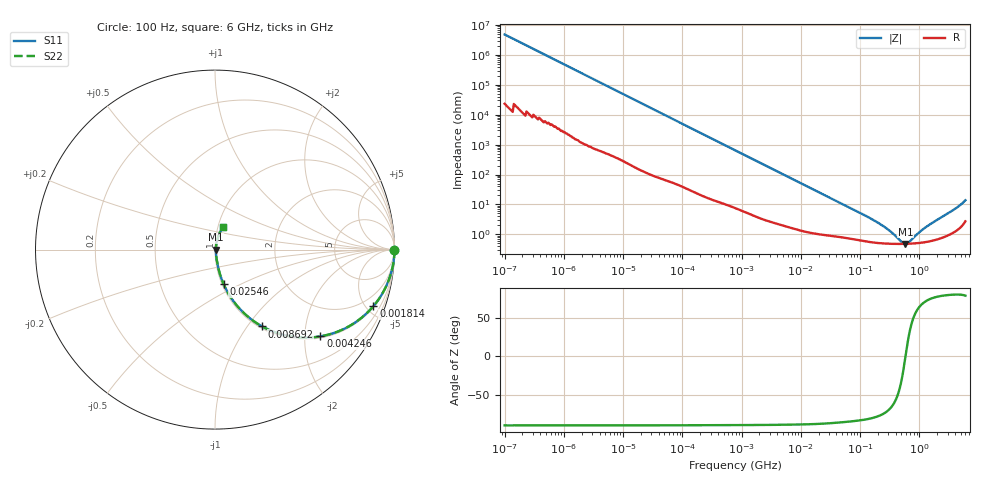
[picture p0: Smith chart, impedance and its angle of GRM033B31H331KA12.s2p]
!Murata Part Number: GRM033B31H331KA12
!These Parameters are Measured in Series Mode Connection
!Data Generated on Mar 30, 2021
!  o--ll--o
!Port1  Port2
!  o------o
!Operation Temp=25[degC], DC Bias Voltage=0[V]
!Freq. Start=100[Hz] Stop=6[GHz] 401[Steps]
# Hz S RI R 50
!Freq.(Hz) S11(Real) S11(Imag) S21(Real) S21(Imag) S12(Real) S12(Imag) S22(Real) S22(Imag)
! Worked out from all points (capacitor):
!   401 points, 100 Hz to 6 GHz, reference 50 ohm
!   read as one part in series: C = 328 pF near 109 Hz
!   lowest |Z| = 481 mohm at 584.8 MHz (marker M1)
!   series resonance near 585.2 MHz, so ESL is about 230 pH
!   S11 on the Smith chart (normalised r, x): 100 Hz: open; 1.814 MHz: 1.08, -5.57; 4.246 MHz: 1.04, -2.39; 8.692 MHz: 1.03, -1.18; 25.46 MHz: 1.02, -0.41; 6 GHz: 1.05, +0.27
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100  1 -2.07e-05  1e-07 2.07e-05  1e-07 2.07e-05  1 -2.07e-05
479  1 -9.84e-05  6e-07 9.84e-05  6e-07 9.84e-05  1 -9.84e-05
2008  1 -0.00041  2.1e-06 0.00041  2.1e-06 0.00041  1 -0.00041
40335  0.9999 -0.00816  0.000118 0.00816  0.000118 0.00816  0.9999 -0.00816
241822  0.9972 -0.0484  0.00276 0.0484  0.00276 0.0484  0.9972 -0.0484
774597  0.975 -0.1502  0.025 0.1502  0.025 0.1502  0.975 -0.1502
1813585  0.8824 -0.3154  0.1176 0.3154  0.1176 0.3154  0.8824 -0.3154
2713602  0.7734 -0.4112  0.2266 0.4112  0.2266 0.4112  0.7734 -0.4112
4246196  0.5872 -0.4834  0.4128 0.4834  0.4128 0.4834  0.5872 -0.4834
6075234  0.4148 -0.4824  0.5852 0.4824  0.5852 0.4824  0.4148 -0.4824
8692127  0.2622 -0.4278  0.7378 0.4278  0.7378 0.4278  0.2622 -0.4278
1.555665e7  0.1061 -0.2919  0.8939 0.2919  0.8939 0.2919  0.1061 -0.2919
2.545746e7  0.0477 -0.1911  0.9523 0.1911  0.9523 0.1911  0.0477 -0.1911
5.449875e7  0.0165 -0.0932  0.9835 0.0932  0.9835 0.0932  0.0165 -0.0932
1.395531e8  0.00686 -0.036  0.9931 0.036  0.9931 0.036  0.00686 -0.036
3.124326e8  0.00497 -0.0124  0.995 0.0124  0.995 0.0124  0.00497 -0.0124
5.112761e8  0.00476 -0.00251  0.9952 0.00251  0.9952 0.00251  0.00476 -0.00251
5.847788e8  0.00478 -1.32e-05  0.9952 1.32e-05  0.9952 1.32e-05  0.00478 -1.32e-05
6.688484e8  0.00483 0.00248  0.9952 -0.00248  0.9952 -0.00248  0.00483 0.00248
1.309207e9  0.00578 0.0166  0.9942 -0.0166  0.9942 -0.0166  0.00578 0.0166
3.8344e9  0.0157 0.0641  0.9843 -0.0641  0.9843 -0.0641  0.0157 0.0641
6e9  0.043 0.1257  0.957 -0.1257  0.957 -0.1257  0.043 0.1257
